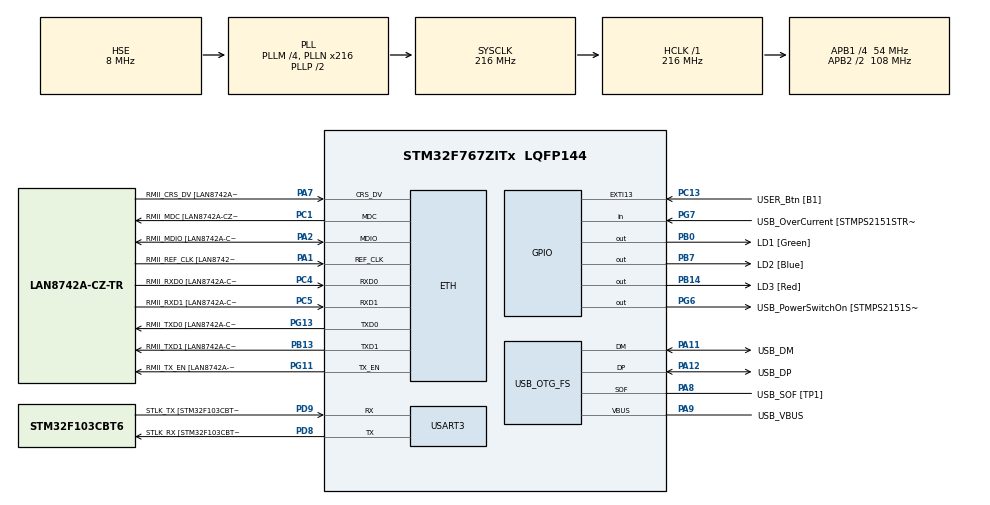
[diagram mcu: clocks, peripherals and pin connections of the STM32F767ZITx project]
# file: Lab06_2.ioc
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ETH.MediaInterface=HAL_ETH_RMII_MODE
ETH.PHY_Name=LAN8742A_PHY_ADDRESS
ETH.PHY_Value=0
ETH.PhyAddress=0
Mcu.Family=STM32F7
Mcu.Name=STM32F767ZITx
Mcu.Package=LQFP144
NVIC.PriorityGroup=NVIC_PRIORITYGROUP_2
NVIC.TIM1_UP_TIM10_IRQn=true\:1\:0\:true\:false\:true\:true\:true\:true
NVIC.TIM2_IRQn=true\:2\:0\:true\:false\:true\:true\:true\:true
PA1.GPIO_Label=RMII_REF_CLK [LAN8742A-CZ-TR_REFCLK0]
PA1.Mode=RMII
PA1.Signal=ETH_REF_CLK
PA10.GPIO_Label=USB_ID
PA10.Signal=USB_OTG_FS_ID
PA11.GPIO_Label=USB_DM
PA11.Mode=Device_Only
PA11.Signal=USB_OTG_FS_DM
PA12.GPIO_Label=USB_DP
PA12.Mode=Device_Only
PA12.Signal=USB_OTG_FS_DP
PA13.GPIO_Label=TMS
PA13.Mode=Serial_Wire
PA13.Signal=SYS_JTMS-SWDIO
PA14.GPIO_Label=TCK
PA14.Mode=Serial_Wire
PA14.Signal=SYS_JTCK-SWCLK
PA2.GPIO_Label=RMII_MDIO [LAN8742A-CZ-TR_MDIO]
PA2.Mode=RMII
PA2.Signal=ETH_MDIO
PA7.GPIO_Label=RMII_CRS_DV [LAN8742A-CZ-TR_CRS_DV]
PA7.Mode=RMII
PA7.Signal=ETH_CRS_DV
PA8.GPIO_Label=USB_SOF [TP1]
PA8.Mode=Activate_SOF_FS
PA8.Signal=USB_OTG_FS_SOF
PA9.GPIO_Label=USB_VBUS
PA9.Mode=Activate_VBUS
PA9.Signal=USB_OTG_FS_VBUS
PB0.GPIO_Label=LD1 [Green]
PB0.Signal=GPIO_Output
PB13.GPIO_Label=RMII_TXD1 [LAN8742A-CZ-TR_TXD1]
PB13.Mode=RMII
PB13.Signal=ETH_TXD1
PB14.GPIO_Label=LD3 [Red]
PB14.Signal=GPIO_Output
PB3.GPIO_Label=SWO
PB3.Signal=SYS_JTDO-SWO
PB7.GPIO_Label=LD2 [Blue]
PB7.Signal=GPIO_Output
PC1.GPIO_Label=RMII_MDC [LAN8742A-CZ-TR_MDC]
PC1.Mode=RMII
PC1.Signal=ETH_MDC
PC13.GPIO_Label=USER_Btn [B1]
PC13.Signal=GPXTI13
PC14/OSC32_IN.Mode=LSE-External-Oscillator
PC14/OSC32_IN.Signal=RCC_OSC32_IN
PC15/OSC32_OUT.Mode=LSE-External-Oscillator
PC15/OSC32_OUT.Signal=RCC_OSC32_OUT
PC4.GPIO_Label=RMII_RXD0 [LAN8742A-CZ-TR_RXD0]
PC4.Mode=RMII
PC4.Signal=ETH_RXD0
PC5.GPIO_Label=RMII_RXD1 [LAN8742A-CZ-TR_RXD1]
PC5.Mode=RMII
PC5.Signal=ETH_RXD1
PD8.GPIO_Label=STLK_RX [STM32F103CBT6_PA3]
PD8.Mode=Asynchronous
PD8.Signal=USART3_TX
PD9.GPIO_Label=STLK_TX [STM32F103CBT6_PA2]
PD9.Mode=Asynchronous
PD9.Signal=USART3_RX
PG11.GPIO_Label=RMII_TX_EN [LAN8742A-CZ-TR_TXEN]
PG11.Mode=RMII
PG11.Signal=ETH_TX_EN
PG13.GPIO_Label=RMII_TXD0 [LAN8742A-CZ-TR_TXD0]
PG13.Mode=RMII
PG13.Signal=ETH_TXD0
PG6.GPIO_Label=USB_PowerSwitchOn [STMPS2151STR_EN]
PG6.Signal=GPIO_Output
PG7.GPIO_Label=USB_OverCurrent [STMPS2151STR_FAULT]
PG7.Signal=GPIO_Input
PH0/OSC_IN.GPIO_Label=MCO [STM32F103CBT6_PA8]
PH0/OSC_IN.Mode=HSE-External-Clock-Source
PH0/OSC_IN.Signal=RCC_OSC_IN
PH1/OSC_OUT.Mode=HSE-External-Clock-Source
PH1/OSC_OUT.Signal=RCC_OSC_OUT
ProjectManager.HeapSize=0x200
ProjectManager.StackSize=0x400
ProjectManager.TargetToolchain=STM32CubeIDE
RCC.48MHZClocksFreq_Value=24000000
RCC.AHBFreq_Value=216000000
RCC.APB1CLKDivider=RCC_HCLK_DIV4
RCC.APB1Freq_Value=54000000
RCC.APB1TimFreq_Value=108000000
RCC.APB2CLKDivider=RCC_HCLK_DIV2
RCC.APB2Freq_Value=108000000
RCC.APB2TimFreq_Value=216000000
RCC.CortexFreq_Value=216000000
RCC.HCLKFreq_Value=216000000
RCC.HSE_VALUE=8000000
RCC.HSI_VALUE=16000000
RCC.PLLM=4
RCC.PLLMUL=RCC_PLL_MUL9
RCC.PLLN=216
RCC.PLLQ=9
RCC.PRESCALERUSB=RCC_USBCLKSOURCE_PLL_DIV1_5
RCC.SYSCLKFreq_VALUE=216000000
RCC.SYSCLKSource=RCC_SYSCLKSOURCE_PLLCLK
RCC.SYSCLKSourceVirtual=RCC_SYSCLKSOURCE_PLLCLK
RCC.USBFreq_Value=48000000
RCC.VCOOutputFreq_Value=432000000
TIM1.Period=1000-1
TIM1.Prescaler=216-1
TIM2.Period=1000-1
TIM2.Prescaler=216-1
USART3.VirtualMode-Asynchronous=VM_ASYNC
USB_OTG_FS.VirtualMode=Device_Only
VP_TIM1_VS_ClockSourceINT.Mode=Internal
VP_TIM2_VS_ClockSourceINT.Mode=Internal
board=NUCLEO-F767ZI

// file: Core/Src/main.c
/* USER CODE BEGIN Header */
/**
  ******************************************************************************
  * @file           : main.c
  * @brief          : Main program body
  ******************************************************************************
  * @attention
  *
  * Copyright (c) 2023 STMicroelectronics.
  * All rights reserved.
  *
  * This software is licensed under terms that can be found in the LICENSE file
  * in the root directory of this software component.
  * If no LICENSE file comes with this software, it is provided AS-IS.
  *
  ******************************************************************************
  */
/* USER CODE END Header */
#include "main.h"
#include "string.h"

#if defined ( __ICCARM__ ) /*!< IAR Compiler */
#pragma location=0x2007c000
ETH_DMADescTypeDef  DMARxDscrTab[ETH_RX_DESC_CNT]; /* Ethernet Rx DMA Descriptors */
#pragma location=0x2007c0a0
ETH_DMADescTypeDef  DMATxDscrTab[ETH_TX_DESC_CNT]; /* Ethernet Tx DMA Descriptors */

#elif defined ( __CC_ARM )  /* MDK ARM Compiler */

__attribute__((at(0x2007c000))) ETH_DMADescTypeDef  DMARxDscrTab[ETH_RX_DESC_CNT]; /* Ethernet Rx DMA Descriptors */
__attribute__((at(0x2007c0a0))) ETH_DMADescTypeDef  DMATxDscrTab[ETH_TX_DESC_CNT]; /* Ethernet Tx DMA Descriptors */

#elif defined ( __GNUC__ ) /* GNU Compiler */
ETH_DMADescTypeDef DMARxDscrTab[ETH_RX_DESC_CNT] __attribute__((section(".RxDecripSection"))); /* Ethernet Rx DMA Descriptors */
ETH_DMADescTypeDef DMATxDscrTab[ETH_TX_DESC_CNT] __attribute__((section(".TxDecripSection")));   /* Ethernet Tx DMA Descriptors */

#endif

ETH_TxPacketConfig TxConfig;

ETH_HandleTypeDef heth;

TIM_HandleTypeDef htim1;
TIM_HandleTypeDef htim2;

UART_HandleTypeDef huart3;

PCD_HandleTypeDef hpcd_USB_OTG_FS;

/* USER CODE BEGIN PV */
uint32_t count;
uint32_t time;
uint32_t delaytime;
/* USER CODE END PV */

void SystemClock_Config(void);
static void MX_GPIO_Init(void);
static void MX_ETH_Init(void);
static void MX_USART3_UART_Init(void);
static void MX_USB_OTG_FS_PCD_Init(void);
static void MX_TIM1_Init(void);
static void MX_TIM2_Init(void);
/* USER CODE BEGIN PFP */
void displayNumber(uint32_t count);
void displayNumber_time(uint32_t time);
/* USER CODE END PFP */

int main(void)
{

  /* MCU Configuration--------------------------------------------------------*/

  /* Reset of all peripherals, Initializes the Flash interface and the Systick. */
  HAL_Init();

  /* Configure the system clock */
  SystemClock_Config();

  /* Initialize all configured peripherals */
  MX_GPIO_Init();
  MX_ETH_Init();
  MX_USART3_UART_Init();
  MX_USB_OTG_FS_PCD_Init();
  MX_TIM1_Init();
  MX_TIM2_Init();
  /* USER CODE BEGIN 2 */
  HAL_TIM_Base_Start_IT(&htim1);
  HAL_TIM_Base_Start_IT(&htim2);

  /* USER CODE END 2 */

  /* Infinite loop */
  /* USER CODE BEGIN WHILE */
  while (1)
  {
//	 displayNumber(count);
//	 HAL_Delay(400);

	 //2
	 if(delaytime >= 200){
//		 displayNumber(count);
		 displayNumber_time(time);
		 delaytime = 0;
	 }
    /* USER CODE END WHILE */

  }
}

void SystemClock_Config(void)
{
  RCC_OscInitTypeDef RCC_OscInitStruct = {0};
  RCC_ClkInitTypeDef RCC_ClkInitStruct = {0};

  /** Configure LSE Drive Capability
  */
  HAL_PWR_EnableBkUpAccess();

  /** Configure the main internal regulator output voltage
  */
  __HAL_RCC_PWR_CLK_ENABLE();
  __HAL_PWR_VOLTAGESCALING_CONFIG(PWR_REGULATOR_VOLTAGE_SCALE1);

  /** Initializes the RCC Oscillators according to the specified parameters
  * in the RCC_OscInitTypeDef structure.
  */
  RCC_OscInitStruct.OscillatorType = RCC_OSCILLATORTYPE_HSE;
  RCC_OscInitStruct.HSEState = RCC_HSE_BYPASS;
  RCC_OscInitStruct.PLL.PLLState = RCC_PLL_ON;
  RCC_OscInitStruct.PLL.PLLSource = RCC_PLLSOURCE_HSE;
  RCC_OscInitStruct.PLL.PLLM = 4;
  RCC_OscInitStruct.PLL.PLLN = 216;
  RCC_OscInitStruct.PLL.PLLP = RCC_PLLP_DIV2;
  RCC_OscInitStruct.PLL.PLLQ = 9;
  RCC_OscInitStruct.PLL.PLLR = 2;
  if (HAL_RCC_OscConfig(&RCC_OscInitStruct) != HAL_OK)
  {
    Error_Handler();
  }

  /** Activate the Over-Drive mode
  */
  if (HAL_PWREx_EnableOverDrive() != HAL_OK)
  {
    Error_Handler();
  }

  /** Initializes the CPU, AHB and APB buses clocks
  */
  RCC_ClkInitStruct.ClockType = RCC_CLOCKTYPE_HCLK|RCC_CLOCKTYPE_SYSCLK
                              |RCC_CLOCKTYPE_PCLK1|RCC_CLOCKTYPE_PCLK2;
  RCC_ClkInitStruct.SYSCLKSource = RCC_SYSCLKSOURCE_PLLCLK;
  RCC_ClkInitStruct.AHBCLKDivider = RCC_SYSCLK_DIV1;
  RCC_ClkInitStruct.APB1CLKDivider = RCC_HCLK_DIV4;
  RCC_ClkInitStruct.APB2CLKDivider = RCC_HCLK_DIV2;

  if (HAL_RCC_ClockConfig(&RCC_ClkInitStruct, FLASH_LATENCY_7) != HAL_OK)
  {
    Error_Handler();
  }
}

static void MX_ETH_Init(void)
{

   static uint8_t MACAddr[6];

  heth.Instance = ETH;
  MACAddr[0] = 0x00;
  MACAddr[1] = 0x80;
  MACAddr[2] = 0xE1;
  MACAddr[3] = 0x00;
  MACAddr[4] = 0x00;
  MACAddr[5] = 0x00;
  heth.Init.MACAddr = &MACAddr[0];
  heth.Init.MediaInterface = HAL_ETH_RMII_MODE;
  heth.Init.TxDesc = DMATxDscrTab;
  heth.Init.RxDesc = DMARxDscrTab;
  heth.Init.RxBuffLen = 1524;

  if (HAL_ETH_Init(&heth) != HAL_OK)
  {
    Error_Handler();
  }

  memset(&TxConfig, 0 , sizeof(ETH_TxPacketConfig));
  TxConfig.Attributes = ETH_TX_PACKETS_FEATURES_CSUM | ETH_TX_PACKETS_FEATURES_CRCPAD;
  TxConfig.ChecksumCtrl = ETH_CHECKSUM_IPHDR_PAYLOAD_INSERT_PHDR_CALC;
  TxConfig.CRCPadCtrl = ETH_CRC_PAD_INSERT;

}

static void MX_TIM1_Init(void)
{

  TIM_ClockConfigTypeDef sClockSourceConfig = {0};
  TIM_MasterConfigTypeDef sMasterConfig = {0};

  htim1.Instance = TIM1;
  htim1.Init.Prescaler = 216-1;
  htim1.Init.CounterMode = TIM_COUNTERMODE_UP;
  htim1.Init.Period = 1000-1;
  htim1.Init.ClockDivision = TIM_CLOCKDIVISION_DIV1;
  htim1.Init.RepetitionCounter = 0;
  htim1.Init.AutoReloadPreload = TIM_AUTORELOAD_PRELOAD_DISABLE;
  if (HAL_TIM_Base_Init(&htim1) != HAL_OK)
  {
    Error_Handler();
  }
  sClockSourceConfig.ClockSource = TIM_CLOCKSOURCE_INTERNAL;
  if (HAL_TIM_ConfigClockSource(&htim1, &sClockSourceConfig) != HAL_OK)
  {
    Error_Handler();
  }
  sMasterConfig.MasterOutputTrigger = TIM_TRGO_RESET;
  sMasterConfig.MasterOutputTrigger2 = TIM_TRGO2_RESET;
  sMasterConfig.MasterSlaveMode = TIM_MASTERSLAVEMODE_DISABLE;
  if (HAL_TIMEx_MasterConfigSynchronization(&htim1, &sMasterConfig) != HAL_OK)
  {
    Error_Handler();
  }

}

static void MX_TIM2_Init(void)
{

  TIM_ClockConfigTypeDef sClockSourceConfig = {0};
  TIM_MasterConfigTypeDef sMasterConfig = {0};

  htim2.Instance = TIM2;
  htim2.Init.Prescaler = 216-1;
  htim2.Init.CounterMode = TIM_COUNTERMODE_UP;
  htim2.Init.Period = 1000-1;
  htim2.Init.ClockDivision = TIM_CLOCKDIVISION_DIV1;
  htim2.Init.AutoReloadPreload = TIM_AUTORELOAD_PRELOAD_DISABLE;
  if (HAL_TIM_Base_Init(&htim2) != HAL_OK)
  {
    Error_Handler();
  }
  sClockSourceConfig.ClockSource = TIM_CLOCKSOURCE_INTERNAL;
  if (HAL_TIM_ConfigClockSource(&htim2, &sClockSourceConfig) != HAL_OK)
  {
    Error_Handler();
  }
  sMasterConfig.MasterOutputTrigger = TIM_TRGO_RESET;
  sMasterConfig.MasterSlaveMode = TIM_MASTERSLAVEMODE_DISABLE;
  if (HAL_TIMEx_MasterConfigSynchronization(&htim2, &sMasterConfig) != HAL_OK)
  {
    Error_Handler();
  }

}

static void MX_USART3_UART_Init(void)
{

  huart3.Instance = USART3;
  huart3.Init.BaudRate = 115200;
  huart3.Init.WordLength = UART_WORDLENGTH_8B;
  huart3.Init.StopBits = UART_STOPBITS_1;
  huart3.Init.Parity = UART_PARITY_NONE;
  huart3.Init.Mode = UART_MODE_TX_RX;
  huart3.Init.HwFlowCtl = UART_HWCONTROL_NONE;
  huart3.Init.OverSampling = UART_OVERSAMPLING_16;
  huart3.Init.OneBitSampling = UART_ONE_BIT_SAMPLE_DISABLE;
  huart3.AdvancedInit.AdvFeatureInit = UART_ADVFEATURE_NO_INIT;
  if (HAL_UART_Init(&huart3) != HAL_OK)
  {
    Error_Handler();
  }

}

static void MX_USB_OTG_FS_PCD_Init(void)
{

  hpcd_USB_OTG_FS.Instance = USB_OTG_FS;
  hpcd_USB_OTG_FS.Init.dev_endpoints = 6;
  hpcd_USB_OTG_FS.Init.speed = PCD_SPEED_FULL;
  hpcd_USB_OTG_FS.Init.dma_enable = DISABLE;
  hpcd_USB_OTG_FS.Init.phy_itface = PCD_PHY_EMBEDDED;
  hpcd_USB_OTG_FS.Init.Sof_enable = ENABLE;
  hpcd_USB_OTG_FS.Init.low_power_enable = DISABLE;
  hpcd_USB_OTG_FS.Init.lpm_enable = DISABLE;
  hpcd_USB_OTG_FS.Init.vbus_sensing_enable = ENABLE;
  hpcd_USB_OTG_FS.Init.use_dedicated_ep1 = DISABLE;
  if (HAL_PCD_Init(&hpcd_USB_OTG_FS) != HAL_OK)
  {
    Error_Handler();
  }

}

static void MX_GPIO_Init(void)
{
  GPIO_InitTypeDef GPIO_InitStruct = {0};

  /* GPIO Ports Clock Enable */
  __HAL_RCC_GPIOC_CLK_ENABLE();
  __HAL_RCC_GPIOH_CLK_ENABLE();
  __HAL_RCC_GPIOA_CLK_ENABLE();
  __HAL_RCC_GPIOB_CLK_ENABLE();
  __HAL_RCC_GPIOD_CLK_ENABLE();
  __HAL_RCC_GPIOG_CLK_ENABLE();

  /*Configure GPIO pin Output Level */
  HAL_GPIO_WritePin(GPIOB, LD1_Pin|LD3_Pin|LD2_Pin, GPIO_PIN_RESET);

  /*Configure GPIO pin Output Level */
  HAL_GPIO_WritePin(USB_PowerSwitchOn_GPIO_Port, USB_PowerSwitchOn_Pin, GPIO_PIN_RESET);

  /*Configure GPIO pin : USER_Btn_Pin */
  GPIO_InitStruct.Pin = USER_Btn_Pin;
  GPIO_InitStruct.Mode = GPIO_MODE_IT_RISING;
  GPIO_InitStruct.Pull = GPIO_NOPULL;
  HAL_GPIO_Init(USER_Btn_GPIO_Port, &GPIO_InitStruct);

  /*Configure GPIO pins : LD1_Pin LD3_Pin LD2_Pin */
  GPIO_InitStruct.Pin = LD1_Pin|LD3_Pin|LD2_Pin;
  GPIO_InitStruct.Mode = GPIO_MODE_OUTPUT_PP;
  GPIO_InitStruct.Pull = GPIO_NOPULL;
  GPIO_InitStruct.Speed = GPIO_SPEED_FREQ_LOW;
  HAL_GPIO_Init(GPIOB, &GPIO_InitStruct);

  /*Configure GPIO pin : USB_PowerSwitchOn_Pin */
  GPIO_InitStruct.Pin = USB_PowerSwitchOn_Pin;
  GPIO_InitStruct.Mode = GPIO_MODE_OUTPUT_PP;
  GPIO_InitStruct.Pull = GPIO_NOPULL;
  GPIO_InitStruct.Speed = GPIO_SPEED_FREQ_LOW;
  HAL_GPIO_Init(USB_PowerSwitchOn_GPIO_Port, &GPIO_InitStruct);

  /*Configure GPIO pin : USB_OverCurrent_Pin */
  GPIO_InitStruct.Pin = USB_OverCurrent_Pin;
  GPIO_InitStruct.Mode = GPIO_MODE_INPUT;
  GPIO_InitStruct.Pull = GPIO_NOPULL;
  HAL_GPIO_Init(USB_OverCurrent_GPIO_Port, &GPIO_InitStruct);

}

/* USER CODE BEGIN 4 */
  //ข้อ 1
//  void displayNumber(uint32_t count){
//  	 char input[32];
//  	 sprintf(input,"%u", count);
//  	 while (__HAL_UART_GET_FLAG(&huart3,UART_FLAG_TC)==RESET ){}
//  	 HAL_UART_Transmit(&huart3, input,strlen(input), 1000);
//  	 //while (__HAL_UART_GET_FLAG(&huart3,UART_FLAG_TC)==RESET ){}
//  	 HAL_UART_Transmit(&huart3, "\n\r",2,1000);
//
//   }

  void displayNumber_time(uint32_t time){
    	 char input[16];
    	 int min = time/60000;
    	 int sec = time/1000;
    	 input[0] = min/10+48;
    	 input[1] = min%10+48;
    	 input[2] = ':';
    	 input[3] = (sec/10)%6+48;
    	 input[4] = sec % 10+48;
    	 input[5] = '\0';
    	 while (__HAL_UART_GET_FLAG(&huart3,UART_FLAG_TC)==RESET ){}
    	 HAL_UART_Transmit(&huart3, (uint8_t*)input ,strlen(input), 1000);
//    	 while (__HAL_UART_GET_FLAG(&huart3,UART_FLAG_TC)==RESET ){}
    	 HAL_UART_Transmit(&huart3, (uint8_t*)"\r",1,1000);
  }

/* USER CODE END 4 */

void Error_Handler(void)
{
  __disable_irq();
  while (1)
  {
  }
}
